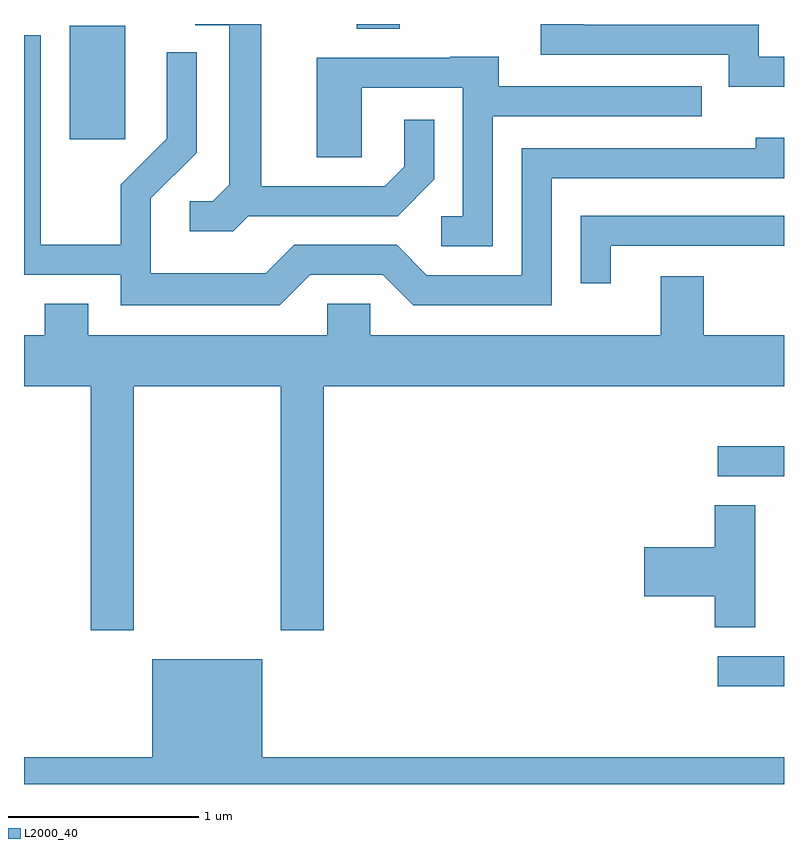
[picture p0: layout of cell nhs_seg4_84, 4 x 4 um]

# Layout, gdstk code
import gdstk
lib = gdstk.Library(unit=1e-6, precision=1e-09)
def R(c, l, rs):  # rectangles x0, y0, x1, y1
    for r in rs: c.add(gdstk.rectangle(r[:2], r[2:], *l))
def P(c, l, *ps):  # polygons
    for p in ps: c.add(gdstk.Polygon(p, *l))
L2000_40 = (2000, 40)

nhs_seg4_84 = lib.new_cell('nhs_seg4_84')
R(nhs_seg4_84, L2000_40, [(191.263,1286.496,191.611,1286.654), (191.263,1287.601,191.611,1287.759), (187.851,1289.376,188.144,1289.974), (189.361,1289.956,189.589,1289.982)])
P(nhs_seg4_84, L2000_40, [(191.611,1289.809),(191.479,1289.809),(191.479,1289.979),(190.559,1289.979),(190.559,1289.982),(189.963,1289.982),(189.963,1289.981),(190.331,1289.981),(190.331,1289.821),(191.321,1289.821),(191.321,1289.651),(191.611,1289.651)],
  [(188.792,1288.971),(189.577,1288.971),(189.769,1289.164),(189.769,1289.478),(189.611,1289.478),(189.611,1289.232),(189.509,1289.129),(188.859,1289.129),(188.859,1289.982),(188.513,1289.982),(188.513,1289.976),(188.691,1289.976),(188.691,1289.137),(188.604,1289.049),(188.483,1289.049),(188.483,1288.891),(188.712,1288.891)],
  [(189.117,1288.661),(189.499,1288.661),(189.659,1288.501),(190.389,1288.501),(190.389,1289.171),(191.611,1289.171),(191.611,1289.384),(191.461,1289.384),(191.461,1289.329),(190.231,1289.329),(190.231,1288.659),(189.732,1288.659),(189.572,1288.819),(189.034,1288.819),(188.884,1288.669),(188.279,1288.669),(188.279,1289.064),(188.519,1289.304),(188.519,1289.833),(188.361,1289.833),(188.361,1289.377),(188.121,1289.137),(188.121,1288.819),(187.699,1288.819),(187.699,1289.924),(187.611,1289.924),(187.611,1288.661),(188.121,1288.661),(188.121,1288.501),(188.957,1288.501)],
  [(190.079,1289.496),(191.178,1289.496),(191.178,1289.654),(190.109,1289.654),(190.109,1289.809),(189.855,1289.809),(189.855,1289.804),(189.151,1289.804),(189.151,1289.281),(189.389,1289.281),(189.389,1289.646),(189.921,1289.646),(189.921,1288.969),(189.808,1288.969),(189.808,1288.811),(190.079,1288.811)],
  [(190.699,1288.816),(191.611,1288.816),(191.611,1288.974),(190.541,1288.974),(190.541,1288.618),(190.699,1288.618)],
  [(188.189,1288.076),(188.961,1288.076),(188.961,1286.791),(189.189,1286.791),(189.189,1288.076),(191.611,1288.076),(191.611,1288.344),(191.189,1288.344),(191.189,1288.654),(190.961,1288.654),(190.961,1288.344),(189.434,1288.344),(189.434,1288.509),(189.206,1288.509),(189.206,1288.344),(187.949,1288.344),(187.949,1288.509),(187.721,1288.509),(187.721,1288.344),(187.611,1288.344),(187.611,1288.076),(187.961,1288.076),(187.961,1286.791),(188.189,1286.791)],
  [(191.459,1287.449),(191.246,1287.449),(191.246,1287.229),(190.876,1287.229),(190.876,1286.971),(191.246,1286.971),(191.246,1286.806),(191.459,1286.806)],
  [(191.611,1286.124),(188.864,1286.124),(188.864,1286.639),(188.286,1286.639),(188.286,1286.124),(187.611,1286.124),(187.611,1285.982),(191.611,1285.982)])

lib.write_gds('nhs_seg4_84.gds')
